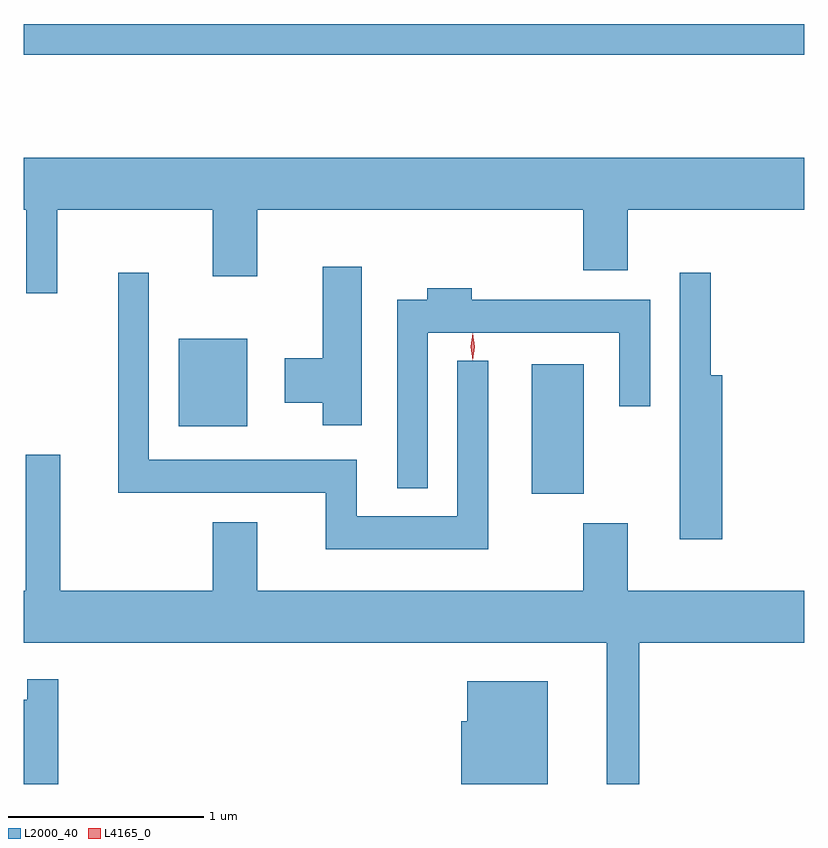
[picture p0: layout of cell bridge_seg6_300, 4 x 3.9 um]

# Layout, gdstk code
import gdstk
lib = gdstk.Library(unit=1e-6, precision=1e-09)
def R(c, l, rs):  # rectangles x0, y0, x1, y1
    for r in rs: c.add(gdstk.rectangle(r[:2], r[2:], *l))
def P(c, l, *ps):  # polygons
    for p in ps: c.add(gdstk.Polygon(p, *l))
L2000_40 = (2000, 40)
L4165_0 = (4165, 0)

bridge_seg6_300 = lib.new_cell('bridge_seg6_300')
R(bridge_seg6_300, L2000_40, [(1292.326,1533.041,1292.594,1533.704), (1290.516,1533.386,1290.869,1533.834), (1289.723,1535.291,1293.723,1535.449)])
P(bridge_seg6_300, L2000_40, [(1289.894,1534.496),(1290.691,1534.496),(1290.691,1534.156),(1290.919,1534.156),(1290.919,1534.496),(1292.591,1534.496),(1292.591,1534.186),(1292.819,1534.186),(1292.819,1534.496),(1293.723,1534.496),(1293.723,1534.764),(1289.723,1534.764),(1289.723,1534.496),(1289.736,1534.496),(1289.736,1534.068),(1289.894,1534.068)],
  [(1291.454,1534.204),(1291.256,1534.204),(1291.256,1533.734),(1291.061,1533.734),(1291.061,1533.506),(1291.256,1533.506),(1291.256,1533.391),(1291.454,1533.391)],
  [(1293.304,1533.649),(1293.244,1533.649),(1293.244,1534.173),(1293.086,1534.173),(1293.086,1532.806),(1293.304,1532.806)],
  [(1292.104,1533.723),(1291.946,1533.723),(1291.946,1532.924),(1291.429,1532.924),(1291.429,1533.214),(1290.364,1533.214),(1290.364,1534.173),(1290.206,1534.173),(1290.206,1533.046),(1291.271,1533.046),(1291.271,1532.756),(1292.104,1532.756)],
  [(1291.794,1533.866),(1292.776,1533.866),(1292.776,1533.488),(1292.934,1533.488),(1292.934,1534.034),(1292.019,1534.034),(1292.019,1534.094),(1291.791,1534.094),(1291.791,1534.034),(1291.636,1534.034),(1291.636,1533.068),(1291.794,1533.068)],
  [(1292.879,1532.276),(1293.723,1532.276),(1293.723,1532.544),(1292.819,1532.544),(1292.819,1532.889),(1292.591,1532.889),(1292.591,1532.544),(1290.919,1532.544),(1290.919,1532.894),(1290.691,1532.894),(1290.691,1532.544),(1289.909,1532.544),(1289.909,1533.239),(1289.731,1533.239),(1289.731,1532.544),(1289.723,1532.544),(1289.723,1532.276),(1292.711,1532.276),(1292.711,1531.552),(1292.879,1531.552)],
  [(1289.899,1532.088),(1289.741,1532.088),(1289.741,1531.984),(1289.723,1531.984),(1289.723,1531.552),(1289.899,1531.552)],
  [(1292.409,1532.079),(1291.996,1532.079),(1291.996,1531.874),(1291.966,1531.874),(1291.966,1531.552),(1292.409,1531.552)])
P(bridge_seg6_300, L4165_0, [(1292.024,1533.724),(1292.015,1533.793),(1292.024,1533.863),(1292.025,1533.863),(1292.025,1533.863),(1292.035,1533.793),(1292.025,1533.724),(1292.025,1533.724)],
  [(1292.024,1533.727),(1292.015,1533.794),(1292.024,1533.86),(1292.025,1533.861),(1292.025,1533.86),(1292.035,1533.794),(1292.025,1533.727),(1292.025,1533.727)])

lib.write_gds('bridge_seg6_300.gds')
